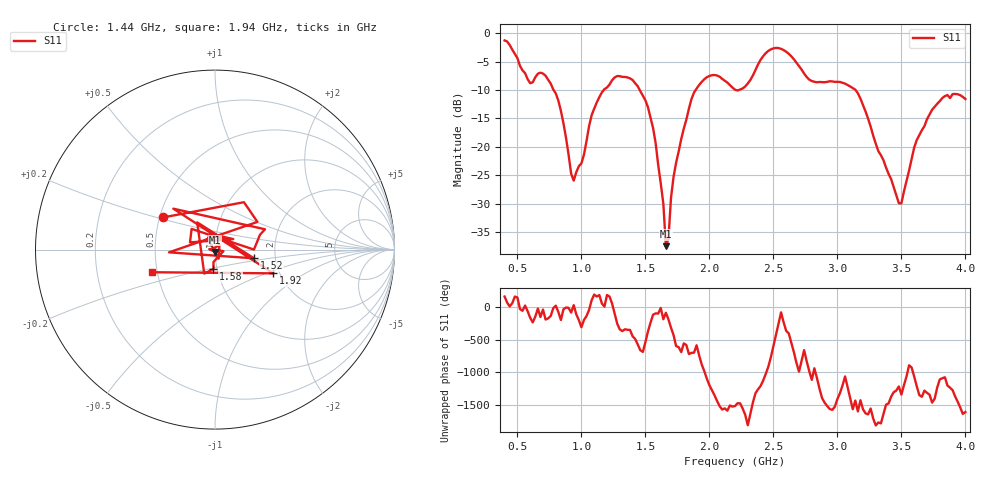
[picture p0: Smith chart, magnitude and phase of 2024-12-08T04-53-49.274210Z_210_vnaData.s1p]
!Created with skrf (http://scikit-rf.org).
# Hz S RI R 50.0
!freq ReS11 ImS11
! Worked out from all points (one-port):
!   181 points, 400 MHz to 4 GHz, reference 50 ohm
!   lowest |S11| = -37.4 dB at 1.66 GHz (marker M1), VSWR 1.03, Z = 50.1 - j1.34 ohm
!   |S11| at or under -10 dB: 782.9 MHz to 1.175 GHz (391.8 MHz wide, 40 % of centre); 1.456 GHz to 1.893 GHz (437.1 MHz wide, 26.1 % of centre); 3.142 GHz to end of sweep (the widest 3 of 4)
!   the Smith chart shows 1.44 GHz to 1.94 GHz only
!   S11 on the Smith chart (normalised r, x): 1.44 GHz: 0.52, +0.21; 1.52 GHz: 1.55, -0.16; 1.58 GHz: 0.96, -0.21; 1.92 GHz: 1.85, -0.56; 1.94 GHz: 0.47, -0.14
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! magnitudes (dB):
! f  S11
! 400 MHz  -1.3
! 600 MHz  -8.8
! 720 MHz  -7.5
! 860 MHz  -15.9
! 940 MHz  -25.9
! 1.12 GHz  -12.2
! 1.3 GHz  -7.6
! 1.44 GHz  -9.3
! 1.52 GHz  -13.0
! 1.58 GHz  -19.3
! 1.64 GHz  -29.9
! 1.66 GHz  -37.4
! 1.68 GHz  -36.1
! 1.72 GHz  -25.2
! 1.76 GHz  -20.8
! 1.86 GHz  -11.6
! 1.92 GHz  -9.1
! 1.94 GHz  -8.6
! 2.2 GHz  -9.9
! 2.48 GHz  -2.9
! 2.66 GHz  -4.6
! 2.8 GHz  -8.4
! 3.1 GHz  -9.4
! 3.18 GHz  -11.5
! 3.48 GHz  -29.9
! 3.56 GHz  -24.1
! 3.74 GHz  -13.5
! 4 GHz  -11.6
